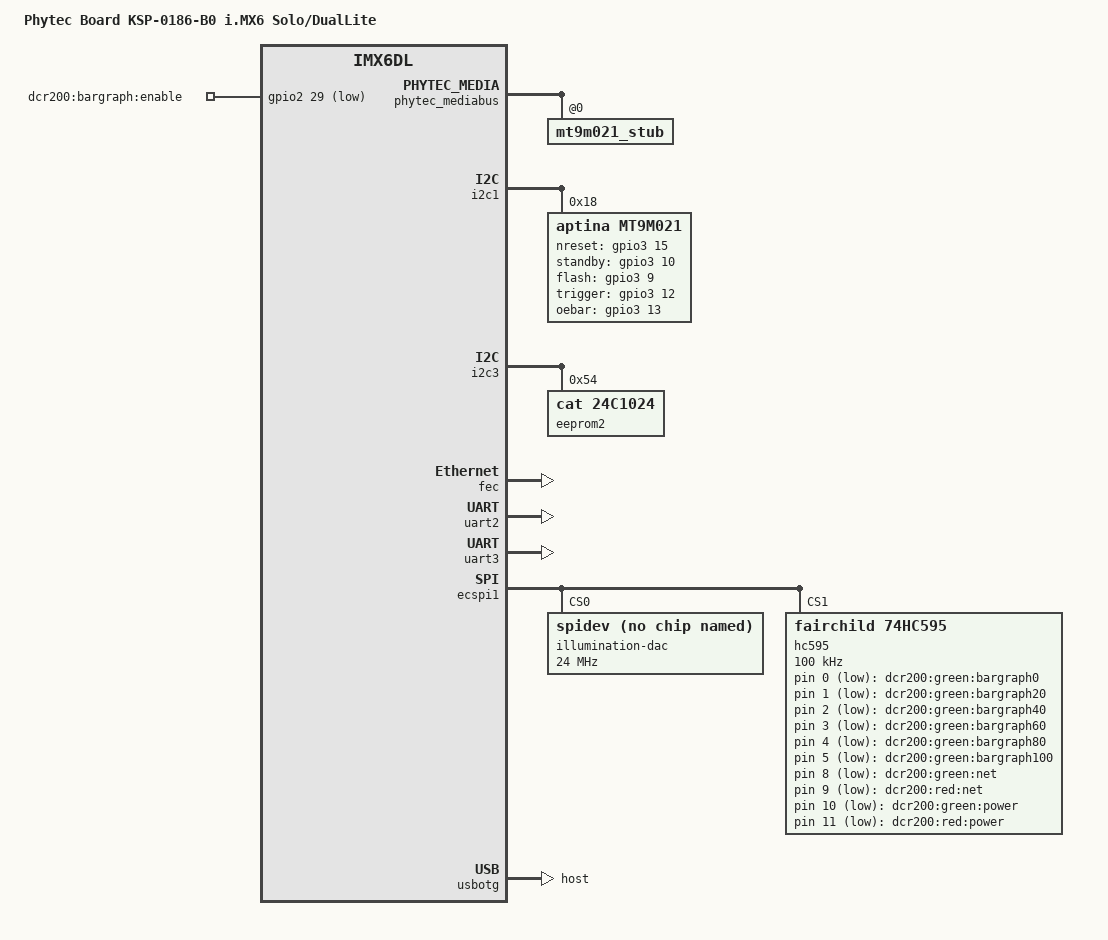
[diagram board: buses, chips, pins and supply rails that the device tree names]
/*
 * Copyright (C) 2015 PHYTEC Messtechnik GmbH,
 * Author: Stefan Christ <s.christ@phytec.de>
 *
 * The code contained herein is licensed under the GNU General Public
 * License. You may obtain a copy of the GNU General Public License
 * Version 2 or later at the following locations:
 *
 * http://www.opensource.org/licenses/gpl-license.html
 * http://www.gnu.org/copyleft/gpl.html
 */

/dts-v1/;
#include "imx6dl-phytec-ksp-0186-som.dtsi"

/ {
	model = "Phytec Board KSP-0186-B0 i.MX6 Solo/DualLite";
	compatible = "phytec,imx6dl-ksp-0186-B0", "fsl,imx6dl";

	chosen {
		linux,stdout-path = &uart2;
	};

        dcr-bargraph {
	    compatible = "gpio-leds";

            oe {
                label = "dcr200:bargraph:enable";
		gpios = <&gpio2 29 GPIO_ACTIVE_LOW>;
		default-state = "on";
            };

            bar_seg_0 {
                label = "dcr200:green:bargraph0";
		gpios = <&hc595 0 GPIO_ACTIVE_LOW>;
		default-state = "off";
            };

            bar_seg_20 {
                label = "dcr200:green:bargraph20";
		gpios = <&hc595 1 GPIO_ACTIVE_LOW>;
		default-state = "off";
            };

            bar_seg_40 {
                label = "dcr200:green:bargraph40";
		gpios = <&hc595 2 GPIO_ACTIVE_LOW>;
		default-state = "off";
            };

            bar_seg_60 {
                label = "dcr200:green:bargraph60";
		gpios = <&hc595 3 GPIO_ACTIVE_LOW>;
		default-state = "off";
            };

            bar_seg_80 {
                label = "dcr200:green:bargraph80";
		gpios = <&hc595 4 GPIO_ACTIVE_LOW>;
		default-state = "off";
            };

            bar_seg_100 {
                label = "dcr200:green:bargraph100";
		gpios = <&hc595 5 GPIO_ACTIVE_LOW>;
		default-state = "off";
            };

	    net0 {
                label = "dcr200:green:net";
		gpios = <&hc595 8 GPIO_ACTIVE_LOW>;
		default-state = "off";
            };

            net1 {
                label = "dcr200:red:net";
		gpios = <&hc595 9 GPIO_ACTIVE_LOW>;
		default-state = "off";
            };

	    power0 {
                label = "dcr200:green:power";
		gpios = <&hc595 10 GPIO_ACTIVE_LOW>;
		linux,default-trigger = "timer";
            };

            power1 {
                label = "dcr200:red:power";
		gpios = <&hc595 11 GPIO_ACTIVE_LOW>;
		default-state = "off";
            };
        };
       
	thermal_zones: thermal-zones {
	};
};

&mt9v024 {
	status = "disabled";
};

&color_shifter {
	status = "disabled";
};

&phytec_mediabus {
	mt9m021_stub@0 {
	};
};

&i2c1 {
	mt9m021: mt9m021@18 {
		#thermal-sensor-cells = <0>;

		pinctrl-names = "default";
		pinctrl-0 = <
			&pinctrl_imager_sensor

			/* the ctrl pins should be in a more generic component
			   but keep it here for now */
			&pinctrl_imager_ctrl
		>;

		compatible = "aptina,mt9m021";
		reg = <0x18>;

		nreset-gpios  = <&gpio3 15 0>;
		standby-gpios = <&gpio3 10 0>;
		flash-gpios   = <&gpio3  9 0>;
		trigger-gpios = <&gpio3 12 0>;
		oebar-gpios   = <&gpio3 13 0>;

		clocks = <&phytec_mediabus 0>;
		clock-names = "extclk";

		port {
			mt9m021_ep: endpoint {
			};
		};
	};
};

&i2c3 {
	eeprom2: eeprom@54 {
		compatible = "cat,24c1024"; /* chip is AT24CM01 (131072 Bytes, 1MBit) */
		reg = <0x54>;
		pagesize = <0x100>;
	};
};

&fec {
	status = "okay";
};


&uart2 {
	status = "okay";
};

&uart3 {
	status = "okay";
};

&ecspi1 {

       /* illumination DAC is connected to this SPI interface using CS signal 0 */
       illumination-dac@0 {
            compatible = "spidev";
            reg = <0>;
            #address-cells = <1>;
            #size-cells = <0>;
            spi-max-frequency = <24000000>;
        };

       /* bargraph shift register is connected to this SPI interface using CS signal 1 */
       hc595: shift-register@1 {
          compatible = "fairchild,74hc595", "spidev"; /* this node will be used by the kernel driver during startup and by the userspace driver during system runtime */
	   reg = <1>; /* shift register uses chip select line 1 */
	   registers-number = <2>; /* 2 chained shift registers */
	   spi-max-frequency = <100000>;

	   gpio-controller;
           #gpio-cells = <2>;

           #address-cells = <1>;
           #size-cells = <0>;
       };
};

&usbotg {
	status = "okay";
	dr_mode = "host";
	//??PATCHED dspindle@leuze.de 2015-08-06
	// Disable over-current detection
	disable-over-current;
};

&thermal_zones {
	camera_zone: camera-thermal {
		polling-delay-passive = <0>; /* milliseconds */
		polling-delay         = <0>; /* milliseconds */
		thermal-sensors = <&mt9m021>;

		trips {
			camera_alert0: camera-alert0 {
				temperature = <70000>; /* millicelsius */
				hysteresis = <2000>;   /* millicelsius */
				type = "critical";
			};
		};

		cooling-maps {
		};
	};
};
